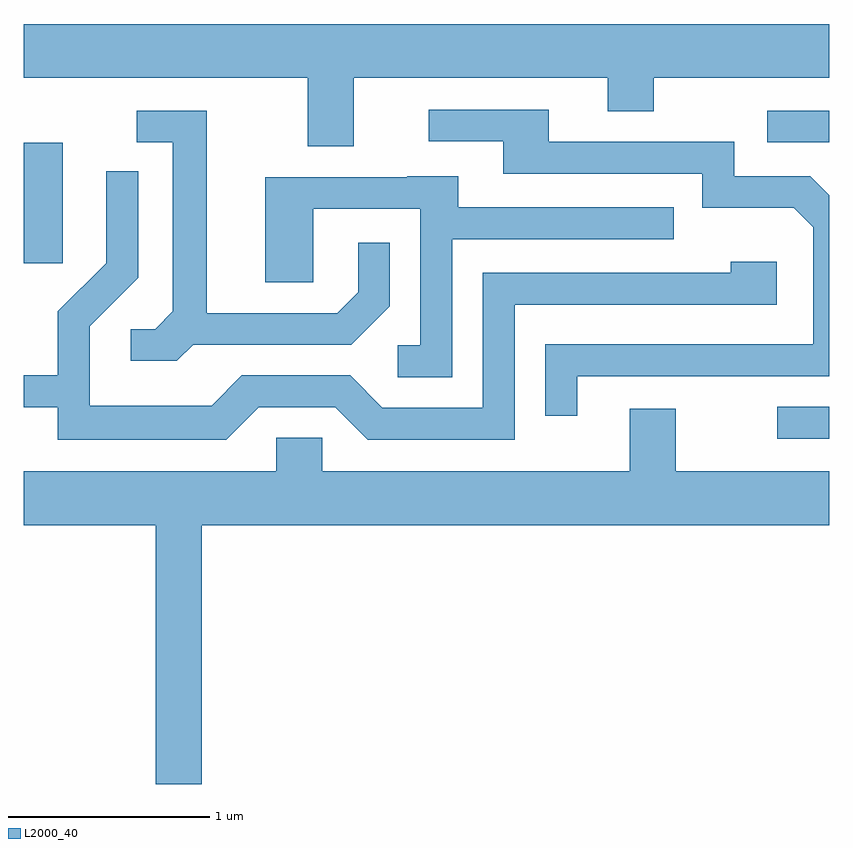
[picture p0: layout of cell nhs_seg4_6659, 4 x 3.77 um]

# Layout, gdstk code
import gdstk
lib = gdstk.Library(unit=1e-6, precision=1e-09)
def R(c, l, rs):  # rectangles x0, y0, x1, y1
    for r in rs: c.add(gdstk.rectangle(r[:2], r[2:], *l))
def P(c, l, *ps):  # polygons
    for p in ps: c.add(gdstk.Polygon(p, *l))
L2000_40 = (2000, 40)

nhs_seg4_6659 = lib.new_cell('nhs_seg4_6659')
R(nhs_seg4_6659, L2000_40, [(383.353,1381.746,383.611,1381.904), (379.611,1382.616,379.804,1383.214), (383.303,1383.216,383.611,1383.374)])
P(nhs_seg4_6659, L2000_40, [(381.249,1383.536),(382.511,1383.536),(382.511,1383.371),(382.739,1383.371),(382.739,1383.536),(383.611,1383.536),(383.611,1383.804),(379.611,1383.804),(379.611,1383.536),(381.021,1383.536),(381.021,1383.196),(381.249,1383.196)],
  [(382.359,1382.056),(383.611,1382.056),(383.611,1382.955),(383.517,1383.049),(383.139,1383.049),(383.139,1383.219),(382.219,1383.219),(382.219,1383.379),(381.623,1383.379),(381.623,1383.221),(381.991,1383.221),(381.991,1383.061),(382.981,1383.061),(382.981,1382.891),(383.434,1382.891),(383.531,1382.794),(383.531,1382.214),(382.201,1382.214),(382.201,1381.858),(382.359,1381.858)],
  [(380.452,1382.211),(381.237,1382.211),(381.429,1382.404),(381.429,1382.718),(381.271,1382.718),(381.271,1382.472),(381.169,1382.369),(380.519,1382.369),(380.519,1383.374),(380.173,1383.374),(380.173,1383.216),(380.351,1383.216),(380.351,1382.377),(380.264,1382.289),(380.143,1382.289),(380.143,1382.131),(380.372,1382.131)],
  [(380.777,1381.901),(381.159,1381.901),(381.319,1381.741),(382.049,1381.741),(382.049,1382.411),(383.349,1382.411),(383.349,1382.624),(383.121,1382.624),(383.121,1382.569),(381.891,1382.569),(381.891,1381.899),(381.392,1381.899),(381.232,1382.059),(380.694,1382.059),(380.544,1381.909),(379.939,1381.909),(379.939,1382.304),(380.179,1382.544),(380.179,1383.073),(380.021,1383.073),(380.021,1382.617),(379.781,1382.377),(379.781,1382.059),(379.611,1382.059),(379.611,1381.901),(379.781,1381.901),(379.781,1381.741),(380.617,1381.741)],
  [(381.739,1382.736),(382.838,1382.736),(382.838,1382.894),(381.769,1382.894),(381.769,1383.049),(381.515,1383.049),(381.515,1383.044),(380.811,1383.044),(380.811,1382.521),(381.049,1382.521),(381.049,1382.886),(381.581,1382.886),(381.581,1382.209),(381.468,1382.209),(381.468,1382.051),(381.739,1382.051)],
  [(380.494,1381.316),(383.611,1381.316),(383.611,1381.584),(382.849,1381.584),(382.849,1381.894),(382.621,1381.894),(382.621,1381.584),(381.094,1381.584),(381.094,1381.749),(380.866,1381.749),(380.866,1381.584),(379.611,1381.584),(379.611,1381.316),(380.266,1381.316),(380.266,1380.031),(380.494,1380.031)])

lib.write_gds('nhs_seg4_6659.gds')
